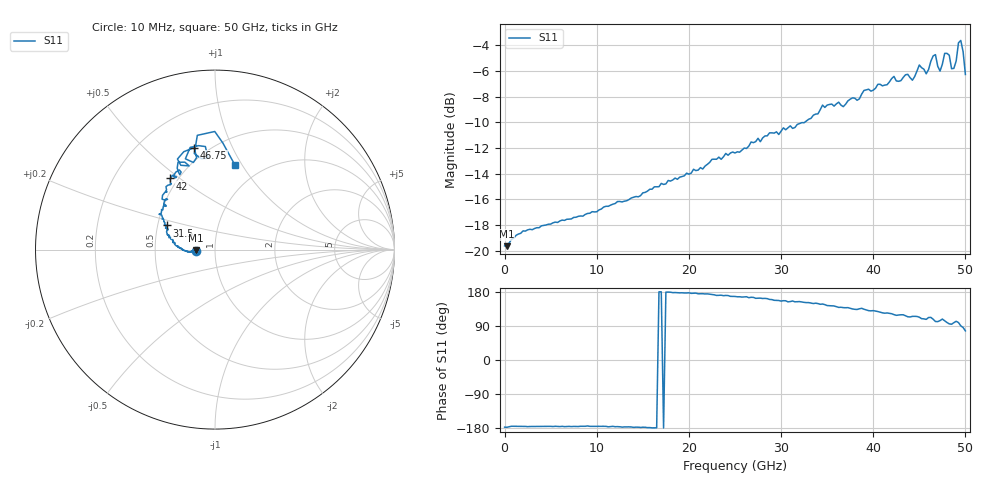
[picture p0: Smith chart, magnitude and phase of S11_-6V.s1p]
!Agilent Technologies,N5227A,US51270434,A.10.00.00
!Agilent N5227A: A.10.00.00
!Date: Thursday, February 26, 2026 12:52:25
!Correction: S11(Full 1 Port(1))
!S1P File: Measurement: S11:
# Hz S  dB  R 50
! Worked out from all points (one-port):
!   201 points, 10 MHz to 50 GHz, reference 50 ohm
!   lowest |S11| = -19.6 dB at 259.9 MHz (marker M1), VSWR 1.23, Z = 40.6 - j0.372 ohm
!   |S11| at or under -10 dB: start of sweep to 32.56 GHz
!   S11 on the Smith chart (normalised r, x): 10 MHz: 0.81, -0.01; 31.5 GHz: 0.56, +0.16; 42 GHz: 0.46, +0.46; 46.75 GHz: 0.42, +0.72; 50 GHz: 0.75, +0.93
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1e7  -19.61 -177.2
2.5995e8  -19.64 -177.5
2.0096e9  -18.45 -175.3
6.25875e9  -17.61 -175.1
1.25075e10  -16.16 -176.2
1.875625e10  -14.43 177.6
2.5005e10  -12.39 167.7
3.125375e10  -10.47 155.7
3.15037e10  -10.41 153.5
3.45031e10  -8.66 147.8
3.75025e10  -8.20 136.5
4.20016e10  -6.60 122.1
4.375125e10  -6.27 114.1
4.425115e10  -6.73 115.2
4.5001e10  -5.54 112.9
4.575085e10  -6.23 107.2
4.625075e10  -5.25 112.5
4.675065e10  -4.74 101.6
4.725055e10  -6.02 103.9
4.75005e10  -5.48 108.1
4.80004e10  -4.64 99.0
4.825035e10  -4.78 95.3
4.85003e10  -5.83 94.4
4.875025e10  -5.81 98.5
4.90002e10  -5.23 102.2
4.925015e10  -3.82 98.8
4.95001e10  -3.63 90.1
5e10  -6.28 76.9
